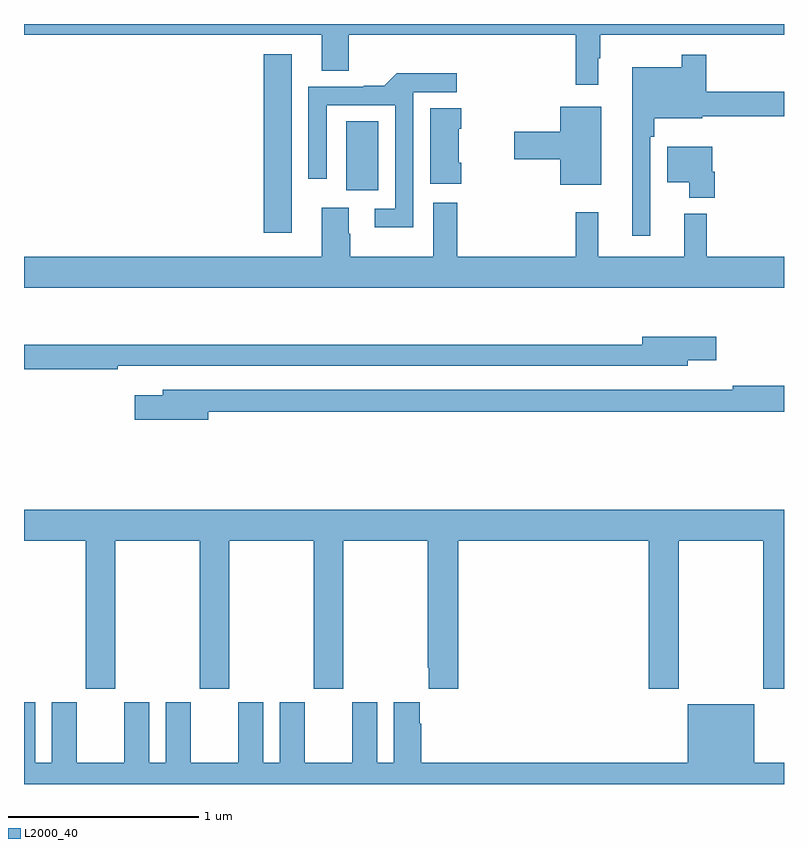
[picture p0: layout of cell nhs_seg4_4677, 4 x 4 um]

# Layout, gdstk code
import gdstk
lib = gdstk.Library(unit=1e-6, precision=1e-09)
def R(c, l, rs):  # rectangles x0, y0, x1, y1
    for r in rs: c.add(gdstk.rectangle(r[:2], r[2:], *l))
def P(c, l, *ps):  # polygons
    for p in ps: c.add(gdstk.Polygon(p, *l))
L2000_40 = (2000, 40)

nhs_seg4_4677 = lib.new_cell('nhs_seg4_4677')
R(nhs_seg4_4677, L2000_40, [(364.262,771.801,364.408,772.741), (364.697,772.026,364.864,772.388)])
P(nhs_seg4_4677, L2000_40, [(363,772.844),(364.568,772.844),(364.568,772.654),(364.708,772.654),(364.708,772.844),(365.905,772.844),(365.905,772.581),(366.022,772.581),(366.022,772.721),(366.034,772.721),(366.034,772.844),(367,772.844),(367,772.9),(363,772.9)],
  [(366.297,772.307),(366.317,772.307),(366.317,772.403),(366.571,772.403),(366.571,772.414),(367,772.414),(367,772.543),(366.59,772.543),(366.59,772.738),(366.462,772.738),(366.462,772.672),(366.2,772.672),(366.2,771.786),(366.297,771.786)],
  [(365.049,772.542),(365.278,772.542),(365.278,772.64),(364.961,772.64),(364.895,772.574),(364.787,772.574),(364.787,772.569),(364.497,772.569),(364.497,772.086),(364.593,772.086),(364.593,772.473),(364.953,772.473),(364.953,771.927),(364.845,771.927),(364.845,771.83),(365.049,771.83)],
  [(366.037,772.465),(365.822,772.465),(365.822,772.334),(365.58,772.334),(365.58,772.187),(365.822,772.187),(365.822,772.055),(366.037,772.055)],
  [(365.3,772.171),(365.287,772.171),(365.287,772.349),(365.3,772.349),(365.3,772.457),(365.138,772.457),(365.138,772.059),(365.3,772.059)],
  [(366.635,772.122),(366.622,772.122),(366.622,772.255),(366.386,772.255),(366.386,772.067),(366.5,772.067),(366.5,771.986),(366.635,771.986)],
  [(367,771.676),(366.593,771.676),(366.593,771.901),(366.476,771.901),(366.476,771.676),(366.023,771.676),(366.023,771.91),(365.905,771.91),(365.905,771.676),(365.279,771.676),(365.279,771.958),(365.153,771.958),(365.153,771.676),(364.716,771.676),(364.716,771.797),(364.708,771.797),(364.708,771.934),(364.568,771.934),(364.568,771.676),(363,771.676),(363,771.512),(367,771.512)],
  [(363.494,771.102),(366.493,771.102),(366.493,771.131),(366.643,771.131),(366.643,771.253),(366.254,771.253),(366.254,771.211),(363,771.211),(363,771.082),(363.494,771.082)],
  [(363.97,770.86),(367,770.86),(367,770.996),(366.73,770.996),(366.73,770.976),(363.731,770.976),(363.731,770.947),(363.582,770.947),(363.582,770.818),(363.97,770.818)],
  [(363.48,770.18),(363.925,770.18),(363.925,769.401),(364.08,769.401),(364.08,770.18),(364.525,770.18),(364.525,769.401),(364.68,769.401),(364.68,770.18),(365.125,770.18),(365.125,769.513),(365.129,769.513),(365.129,769.401),(365.285,769.401),(365.285,770.18),(366.287,770.18),(366.287,769.401),(366.447,769.401),(366.447,770.18),(366.892,770.18),(366.892,769.401),(367,769.401),(367,770.344),(363,770.344),(363,770.18),(363.325,770.18),(363.325,769.401),(363.48,769.401)],
  [(367,769.012),(366.844,769.012),(366.844,769.321),(366.494,769.321),(366.494,769.012),(365.09,769.012),(365.09,769.217),(365.083,769.217),(365.083,769.33),(364.946,769.33),(364.946,769.012),(364.858,769.012),(364.858,769.33),(364.727,769.33),(364.727,769.012),(364.477,769.012),(364.477,769.33),(364.346,769.33),(364.346,769.012),(364.258,769.012),(364.258,769.33),(364.127,769.33),(364.127,769.012),(363.877,769.012),(363.877,769.33),(363.746,769.33),(363.746,769.012),(363.658,769.012),(363.658,769.33),(363.527,769.33),(363.527,769.012),(363.277,769.012),(363.277,769.33),(363.146,769.33),(363.146,769.012),(363.058,769.012),(363.058,769.33),(363,769.33),(363,768.9),(367,768.9)])

lib.write_gds('nhs_seg4_4677.gds')
